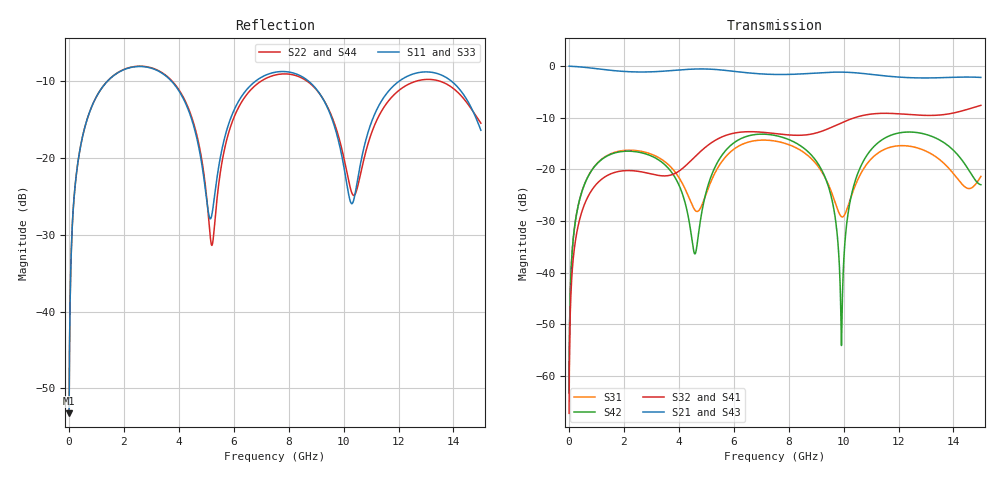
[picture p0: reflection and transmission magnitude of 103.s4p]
! Created with skrf 1.8.0 (http://scikit-rf.org).
# GHz S RI R 50.0
!freq ReS11 ImS11 ReS12 ImS12 ReS13 ImS13
! ReS14 ImS14
! ReS21 ImS21 ReS22 ImS22 ReS23 ImS23
! ReS24 ImS24
! ReS31 ImS31 ReS32 ImS32 ReS33 ImS33
! ReS34 ImS34
! ReS41 ImS41 ReS42 ImS42 ReS43 ImS43
! ReS44 ImS44
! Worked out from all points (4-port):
!   2499 points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, 5 MHz to 15 GHz, reference 50 ohm
!   strongest paths, dB at 5 MHz, 3.476 GHz, 7.19 GHz, 11.1 GHz, 15 GHz:
!     S21: 0.0, -1.0, -1.6, -1.7, -2.2
!     S43: 0.0, -1.0, -1.6, -1.7, -2.2
!     S32: -67.2, -21.3, -12.9, -9.2, -7.6
!     S41: -67.2, -21.3, -12.9, -9.3, -7.6
!     S42: -63.3, -19.0, -13.2, -15.6, -23.0
!     S31: -63.3, -18.4, -14.3, -17.5, -21.4
!   lowest |S11| = -53.2 dB at 5 MHz (marker M1), VSWR 1.00, Z = 50.2 + j0.132 ohm
!   |S11| at or under -10 dB: start of sweep to 1.402 GHz; 3.732 GHz to 6.792 GHz (3.06 GHz wide, 58.2 % of centre); 8.726 GHz to 12.02 GHz (3.298 GHz wide, 31.8 % of centre) (the widest 3 of 4)
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0.005  0.00174 0.00132  0.9982 -0.00338  8.71e-05 0.000678  -8.46e-05 -0.000427
       0.9982 -0.00338  0.00174 0.00132  -8.46e-05 -0.000427  8.7e-05 0.000678
       8.71e-05 0.000678  -8.46e-05 -0.000427  0.00174 0.00132  0.9982 -0.00338
       -8.46e-05 -0.000427  8.7e-05 0.000678  0.9982 -0.00338  0.00174 0.00132
1.519383  0.2812 0.1752  0.5246 -0.7438  0.1314 0.0528  -0.0904 -0.00246
          0.5246 -0.7438  0.2828 0.1742  -0.0905 -0.00234  0.1265 0.06
          0.1314 0.0528  -0.0905 -0.00234  0.2812 0.1753  0.5247 -0.7438
          -0.0904 -0.00246  0.1265 0.06  0.5247 -0.7438  0.2828 0.1741
5.002084  0.0416 -0.037  -0.9235 -0.1598  -0.0373 0.0453  -0.0271 0.1644
          -0.9235 -0.1598  0.0298 -0.0497  -0.0255 0.1646  0.021 0.0576
          -0.0373 0.0453  -0.0255 0.1646  0.0412 -0.0366  -0.9235 -0.1597
          -0.0271 0.1644  0.021 0.0576  -0.9235 -0.1597  0.0301 -0.0491
7.972072  0.3607 -0.045  -0.0218 0.8301  0.1629 -0.0635  0.204 -0.0658
          -0.0218 0.8301  0.3513 -0.022  0.2043 -0.0697  0.1711 -0.0956
          0.1629 -0.0635  0.2043 -0.0697  0.3616 -0.0429  -0.0221 0.8294
          0.204 -0.0658  0.1711 -0.0956  -0.0221 0.8294  0.3539 -0.0241
9.922885  0.0681 -0.0811  0.7928 0.3687  -0.0342 -0.00669  0.1146 -0.2578
          0.7928 0.3687  0.0802 -0.0853  0.1087 -0.2605  -0.00194 0.000335
          -0.0342 -0.00669  0.1087 -0.2605  0.071 -0.0842  0.7916 0.3703
          0.1146 -0.2578  -0.00194 0.000335  0.7916 0.3703  0.0813 -0.0896
11.26094  0.1623 0.1418  0.7534 -0.3152  0.0995 0.1046  -0.1674 -0.3035
          0.7534 -0.3152  0.1385 0.1214  -0.1745 -0.3009  0.1639 0.0783
          0.0995 0.1046  -0.1745 -0.3009  0.1577 0.1373  0.7552 -0.3137
          -0.1674 -0.3035  0.1639 0.0783  0.7552 -0.3137  0.1389 0.1168
15  0.1209 -0.0914  -0.6461 -0.4313  -0.0742 0.0425  -0.2384 0.3433
    -0.6461 -0.4313  0.1592 -0.0551  -0.2249 0.3509  -0.0707 0.00692
    -0.0742 0.0425  -0.2249 0.3509  0.1304 -0.0864  -0.6462 -0.4322
    -0.2384 0.3433  -0.0707 0.00692  -0.6462 -0.4322  0.1485 -0.0605
